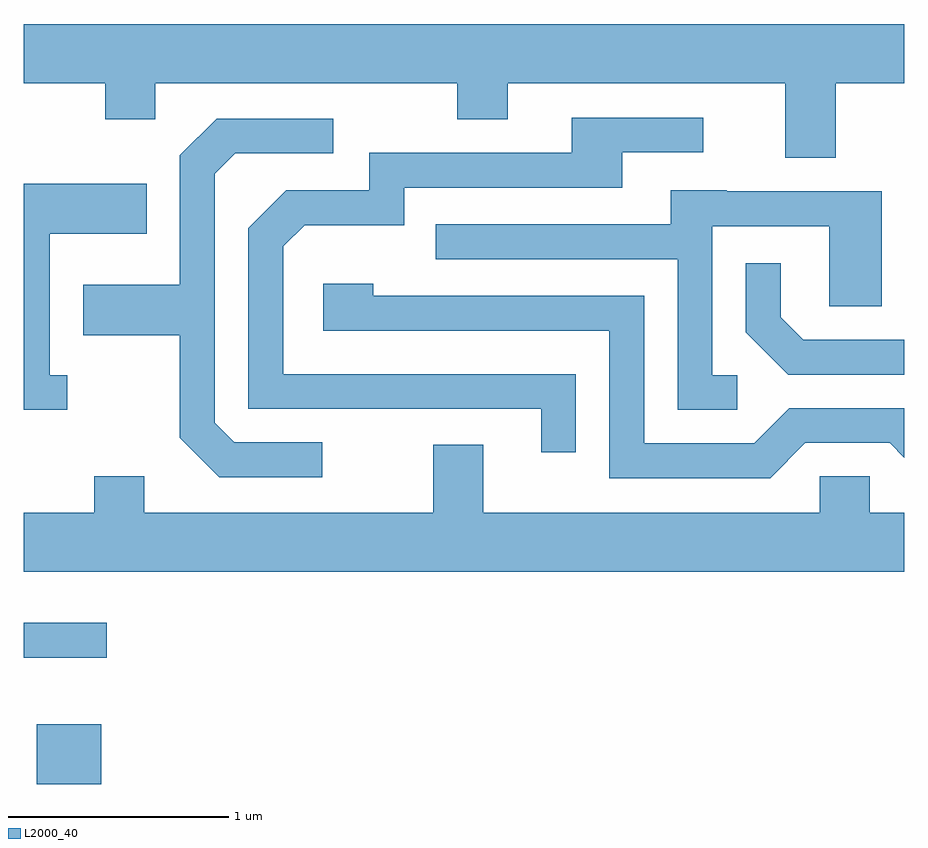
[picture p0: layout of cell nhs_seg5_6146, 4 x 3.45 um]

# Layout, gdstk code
import gdstk
lib = gdstk.Library(unit=1e-6, precision=1e-09)
def R(c, l, rs):  # rectangles x0, y0, x1, y1
    for r in rs: c.add(gdstk.rectangle(r[:2], r[2:], *l))
def P(c, l, *ps):  # polygons
    for p in ps: c.add(gdstk.Polygon(p, *l))
L2000_40 = (2000, 40)

nhs_seg5_6146 = lib.new_cell('nhs_seg5_6146')
R(nhs_seg5_6146, L2000_40, [(367.671,1438.072,367.964,1438.344), (367.611,1438.646,367.988,1438.804)])
P(nhs_seg5_6146, L2000_40, [(371.299,1441.256),(371.611,1441.256),(371.611,1441.524),(367.611,1441.524),(367.611,1441.256),(367.981,1441.256),(367.981,1441.091),(368.209,1441.091),(368.209,1441.256),(369.581,1441.256),(369.581,1441.091),(369.809,1441.091),(369.809,1441.256),(371.071,1441.256),(371.071,1440.916),(371.299,1440.916)],
  [(370.119,1439.934),(368.789,1439.934),(368.789,1440.514),(368.887,1440.611),(369.339,1440.611),(369.339,1440.781),(370.329,1440.781),(370.329,1440.941),(370.698,1440.941),(370.698,1441.099),(370.101,1441.099),(370.101,1440.939),(369.181,1440.939),(369.181,1440.769),(368.804,1440.769),(368.631,1440.597),(368.631,1439.776),(369.961,1439.776),(369.961,1439.578),(370.119,1439.578)],
  [(368.968,1439.624),(368.567,1439.624),(368.479,1439.712),(368.479,1440.844),(368.572,1440.936),(369.018,1440.936),(369.018,1441.094),(368.489,1441.094),(368.321,1440.927),(368.321,1440.339),(367.881,1440.339),(367.881,1440.111),(368.321,1440.111),(368.321,1439.644),(368.499,1439.466),(368.968,1439.466)],
  [(367.808,1439.929),(367.729,1439.929),(367.729,1440.571),(368.169,1440.571),(368.169,1440.799),(367.611,1440.799),(367.611,1439.771),(367.808,1439.771)],
  [(370.853,1439.929),(370.739,1439.929),(370.739,1440.606),(371.271,1440.606),(371.271,1440.241),(371.509,1440.241),(371.509,1440.764),(370.805,1440.764),(370.805,1440.769),(370.551,1440.769),(370.551,1440.614),(369.483,1440.614),(369.483,1440.456),(370.581,1440.456),(370.581,1439.771),(370.853,1439.771)],
  [(371.611,1440.089),(371.152,1440.089),(371.049,1440.192),(371.049,1440.438),(370.891,1440.438),(370.891,1440.124),(371.084,1439.931),(371.611,1439.931)],
  [(371.162,1439.621),(371.544,1439.621),(371.611,1439.554),(371.611,1439.779),(371.089,1439.779),(370.929,1439.619),(370.429,1439.619),(370.429,1440.289),(369.199,1440.289),(369.199,1440.344),(368.971,1440.344),(368.971,1440.131),(370.271,1440.131),(370.271,1439.461),(371.002,1439.461)],
  [(371.611,1439.304),(371.454,1439.304),(371.454,1439.469),(371.226,1439.469),(371.226,1439.304),(369.699,1439.304),(369.699,1439.614),(369.471,1439.614),(369.471,1439.304),(368.159,1439.304),(368.159,1439.469),(367.931,1439.469),(367.931,1439.304),(367.611,1439.304),(367.611,1439.036),(371.611,1439.036)])

lib.write_gds('nhs_seg5_6146.gds')
